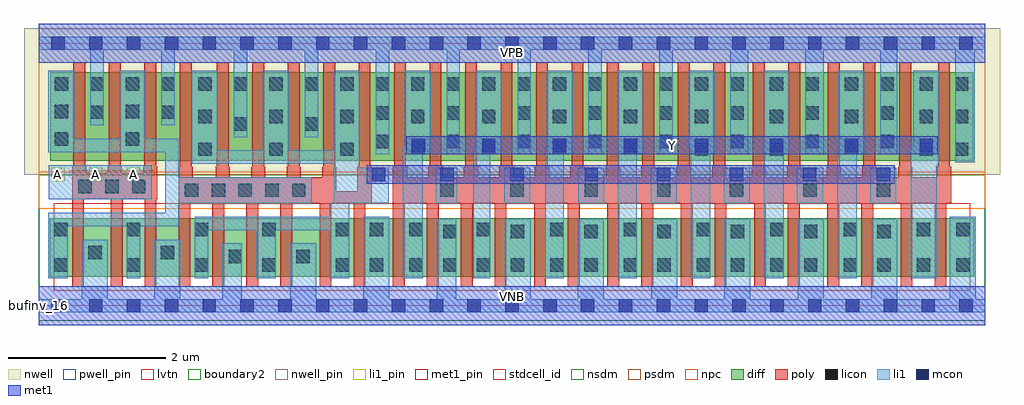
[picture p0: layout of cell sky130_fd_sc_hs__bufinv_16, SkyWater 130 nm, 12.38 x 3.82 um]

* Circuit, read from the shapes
.subckt sky130_fd_sc_hs__bufinv_16 A VGND VNB VPB VPWR Y
XM1 VGND A n1 VNB sky130_fd_pr__nfet_01v8_lvt w=0.74 l=0.15 m=3
XM2 n2 n1 VGND VNB sky130_fd_pr__nfet_01v8_lvt w=0.74 l=0.15 m=6
XM3 Y n2 VGND VNB sky130_fd_pr__nfet_01v8_lvt w=0.74 l=0.15 m=16
XM4 VPWR A n1 VPB sky130_fd_pr__pfet_01v8 w=1.12 l=0.15 m=3
XM5 n2 n1 VPWR VPB sky130_fd_pr__pfet_01v8 w=1.12 l=0.15 m=6
XM6 Y n2 VPWR VPB sky130_fd_pr__pfet_01v8 w=1.12 l=0.15 m=16
.ends

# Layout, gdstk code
import gdstk
lib = gdstk.Library(unit=1e-6, precision=1e-09)
def R(c, l, rs):  # rectangles x0, y0, x1, y1
    for r in rs: c.add(gdstk.rectangle(r[:2], r[2:], *l))
def A(c, l, x, y, w, h, nx, ny, dx, dy):  # array of equal rectangles
    R(c, l, [(x+i*dx, y+j*dy, x+i*dx+w, y+j*dy+h) for i in range(nx) for j in range(ny)])
def P(c, l, *ps):  # polygons
    for p in ps: c.add(gdstk.Polygon(p, *l))
nwell_pin = (64, 16)
nwell = (64, 20)
diff = (65, 20)
poly = (66, 20)
licon = (66, 44)
li1_pin = (67, 16)
li1 = (67, 20)
mcon = (67, 44)
met1_pin = (68, 16)
met1 = (68, 20)
stdcell_id = (81, 4)
nsdm = (93, 44)
psdm = (94, 20)
npc = (95, 20)
pwell_pin = (122, 16)
lvtn = (125, 44)
boundary2 = (236, 0)

sky130_fd_sc_hs__bufinv_ = lib.new_cell('sky130_fd_sc_hs__bufinv_16')
R(sky130_fd_sc_hs__bufinv_, nwell_pin, [(0,3.085,12,3.33)])
R(sky130_fd_sc_hs__bufinv_, nwell, [(-0.19,1.66,12.19,3.52)])
R(sky130_fd_sc_hs__bufinv_, diff, [(0.135,0.37,11.865,1.11), (0.14,1.84,11.85,2.96)])
P(sky130_fd_sc_hs__bufinv_, poly, [(1.5,1.765),(1.485,1.765),(1.485,3.09),(1.335,3.09),(1.335,1.765),(1.32,1.765),(1.32,1.68),(1.05,1.68),(1.05,1.765),(1.035,1.765),(1.035,3.09),(0.885,3.09),(0.885,1.765),(0.87,1.765),(0.87,1.68),(0.6,1.68),(0.6,1.765),(0.585,1.765),(0.585,3.09),(0.435,3.09),(0.435,1.765),(0.42,1.765),(0.42,0.24),(0.57,0.24),(0.57,1.35),(0.91,1.35),(0.91,0.24),(1.06,0.24),(1.06,1.35),(1.34,1.35),(1.34,0.24),(1.49,0.24),(1.49,1.35),(1.5,1.35)],
  [(4.22,1.765),(4.205,1.765),(4.205,3.09),(4.055,3.09),(4.055,1.765),(4.04,1.765),(4.04,1.45),(3.77,1.45),(3.77,1.765),(3.755,1.765),(3.755,3.09),(3.605,3.09),(3.605,1.765),(3.59,1.765),(3.59,1.63),(3.32,1.63),(3.32,1.765),(3.305,1.765),(3.305,3.09),(3.155,3.09),(3.155,1.765),(3.14,1.765),(3.14,1.63),(2.87,1.63),(2.87,1.765),(2.855,1.765),(2.855,3.09),(2.705,3.09),(2.705,1.765),(2.69,1.765),(2.69,1.63),(2.42,1.63),(2.42,1.765),(2.405,1.765),(2.405,3.09),(2.255,3.09),(2.255,1.765),(2.24,1.765),(2.24,1.63),(1.95,1.63),(1.95,1.765),(1.935,1.765),(1.935,3.09),(1.785,3.09),(1.785,1.765),(1.77,1.765),(1.77,0.24),(1.92,0.24),(1.92,1.3),(2.2,1.3),(2.2,0.24),(2.35,0.24),(2.35,1.3),(2.63,1.3),(2.63,0.24),(2.78,0.24),(2.78,1.3),(3.06,1.3),(3.06,0.24),(3.21,0.24),(3.21,1.3),(3.56,1.3),(3.56,0.24),(3.71,0.24),(3.71,1.3),(3.99,1.3),(3.99,0.24),(4.14,0.24),(4.14,1.3),(4.22,1.3)],
  [(11.57,1.765),(11.555,1.765),(11.555,3.09),(11.405,3.09),(11.405,1.765),(11.39,1.765),(11.39,1.63),(11.08,1.63),(11.08,1.765),(11.065,1.765),(11.065,3.09),(10.915,3.09),(10.915,1.765),(10.9,1.765),(10.9,1.63),(10.62,1.63),(10.62,1.765),(10.605,1.765),(10.605,3.09),(10.455,3.09),(10.455,1.765),(10.44,1.765),(10.44,1.63),(10.17,1.63),(10.17,1.765),(10.155,1.765),(10.155,3.09),(10.005,3.09),(10.005,1.765),(9.99,1.765),(9.99,1.63),(9.67,1.63),(9.67,1.765),(9.655,1.765),(9.655,3.09),(9.505,3.09),(9.505,1.765),(9.49,1.765),(9.49,1.63),(9.22,1.63),(9.22,1.765),(9.205,1.765),(9.205,3.09),(9.055,3.09),(9.055,1.765),(9.04,1.765),(9.04,1.63),(8.72,1.63),(8.72,1.765),(8.705,1.765),(8.705,3.09),(8.555,3.09),(8.555,1.765),(8.54,1.765),(8.54,1.63),(8.27,1.63),(8.27,1.765),(8.255,1.765),(8.255,3.09),(8.105,3.09),(8.105,1.765),(8.09,1.765),(8.09,1.63),(7.82,1.63),(7.82,1.765),(7.805,1.765),(7.805,3.09),(7.655,3.09),(7.655,1.765),(7.64,1.765),(7.64,1.63),(7.37,1.63),(7.37,1.765),(7.355,1.765),(7.355,3.09),(7.205,3.09),(7.205,1.765),(7.19,1.765),(7.19,1.63),(6.92,1.63),(6.92,1.765),(6.905,1.765),(6.905,3.09),(6.755,3.09),(6.755,1.765),(6.74,1.765),(6.74,1.63),(6.47,1.63),(6.47,1.765),(6.455,1.765),(6.455,3.09),(6.305,3.09),(6.305,1.765),(6.29,1.765),(6.29,1.63),(6.02,1.63),(6.02,1.765),(6.005,1.765),(6.005,3.09),(5.855,3.09),(5.855,1.765),(5.84,1.765),(5.84,1.63),(5.57,1.63),(5.57,1.765),(5.555,1.765),(5.555,3.09),(5.405,3.09),(5.405,1.765),(5.39,1.765),(5.39,1.63),(5.12,1.63),(5.12,1.765),(5.105,1.765),(5.105,3.09),(4.955,3.09),(4.955,1.765),(4.94,1.765),(4.94,1.63),(4.67,1.63),(4.67,1.765),(4.655,1.765),(4.655,3.09),(4.505,3.09),(4.505,1.765),(4.49,1.765),(4.49,0.24),(4.64,0.24),(4.64,1.3),(4.92,1.3),(4.92,0.24),(5.07,0.24),(5.07,1.3),(5.35,1.3),(5.35,0.24),(5.5,0.24),(5.5,1.3),(5.78,1.3),(5.78,0.24),(5.93,0.24),(5.93,1.3),(6.28,1.3),(6.28,0.24),(6.43,0.24),(6.43,1.3),(6.71,1.3),(6.71,0.24),(6.86,0.24),(6.86,1.3),(7.21,1.3),(7.21,0.24),(7.36,0.24),(7.36,1.3),(7.64,1.3),(7.64,0.24),(7.79,0.24),(7.79,1.3),(8.14,1.3),(8.14,0.24),(8.29,0.24),(8.29,1.3),(8.57,1.3),(8.57,0.24),(8.72,0.24),(8.72,1.3),(9.07,1.3),(9.07,0.24),(9.22,0.24),(9.22,1.3),(9.5,1.3),(9.5,0.24),(9.65,0.24),(9.65,1.3),(10,1.3),(10,0.24),(10.15,0.24),(10.15,1.3),(10.43,1.3),(10.43,0.24),(10.58,0.24),(10.58,1.3),(10.93,1.3),(10.93,0.24),(11.08,0.24),(11.08,1.3),(11.36,1.3),(11.36,0.24),(11.51,0.24),(11.51,1.3),(11.57,1.3)])
A(sky130_fd_sc_hs__bufinv_, licon, 1.115, 0.43, 0.17, 0.17, 3, 2, 0.86, 0.45)
A(sky130_fd_sc_hs__bufinv_, licon, 4.695, 0.43, 0.17, 0.17, 4, 1, 0.43, 0)
A(sky130_fd_sc_hs__bufinv_, licon, 10.635, 0.43, 0.17, 0.17, 3, 1, 0.5, 0)
A(sky130_fd_sc_hs__bufinv_, licon, 5.985, 0.855, 0.17, 0.17, 6, 1, 0.93, 0)
A(sky130_fd_sc_hs__bufinv_, licon, 5.555, 0.88, 0.17, 0.17, 7, 1, 0.93, 0)
A(sky130_fd_sc_hs__bufinv_, licon, 1.85, 1.38, 0.17, 0.17, 5, 1, 0.34, 0)
A(sky130_fd_sc_hs__bufinv_, licon, 8.765, 1.38, 0.17, 0.17, 3, 1, 0.93, 0)
A(sky130_fd_sc_hs__bufinv_, licon, 0.5, 1.43, 0.17, 0.17, 3, 1, 0.34, 0)
A(sky130_fd_sc_hs__bufinv_, licon, 2.02, 1.9, 0.17, 0.17, 3, 1, 0.9, 0)
A(sky130_fd_sc_hs__bufinv_, licon, 11.62, 1.9, 0.17, 0.17, 1, 3, 0, 0.415)
A(sky130_fd_sc_hs__bufinv_, licon, 4.72, 1.92, 0.17, 0.17, 4, 1, 0.9, 0)
A(sky130_fd_sc_hs__bufinv_, licon, 4.27, 2, 0.17, 0.17, 6, 2, 0.9, 0.36)
A(sky130_fd_sc_hs__bufinv_, licon, 2.02, 2.315, 0.17, 0.17, 8, 1, 0.9, 0)
A(sky130_fd_sc_hs__bufinv_, licon, 9.27, 2.315, 0.17, 0.17, 3, 1, 0.95, 0)
A(sky130_fd_sc_hs__bufinv_, licon, 0.2, 2.73, 0.17, 0.17, 4, 1, 0.45, 0)
A(sky130_fd_sc_hs__bufinv_, licon, 2.02, 2.73, 0.17, 0.17, 16, 1, 0.45, 0)
R(sky130_fd_sc_hs__bufinv_, licon, [(0.195,0.43,0.365,0.6), (3.765,0.43,3.935,0.6), (4.195,0.43,4.365,0.6), (6.485,0.43,6.655,0.6), (6.915,0.43,7.085,0.6), (7.415,0.43,7.585,0.6), (7.845,0.43,8.015,0.6), (8.345,0.43,8.515,0.6), (8.775,0.43,8.945,0.6), (9.275,0.43,9.445,0.6), (9.705,0.43,9.875,0.6), (10.205,0.43,10.375,0.6), (2.405,0.54,2.575,0.71), (3.265,0.54,3.435,0.71), (0.625,0.59,0.795,0.76), (1.545,0.59,1.715,0.76), (5.125,0.855,5.295,1.025), (0.195,0.88,0.365,1.05), (3.765,0.88,3.935,1.05), (4.195,0.88,4.365,1.05), (4.695,0.88,4.865,1.05), (11.635,0.88,11.805,1.05), (5.09,1.38,5.26,1.55), (5.98,1.38,6.15,1.55), (6.92,1.38,7.09,1.55), (7.84,1.38,8.01,1.55), (8.32,1.9,8.49,2.07), (9.27,1.9,9.44,2.07), (11.17,1.9,11.34,2.07), (10.22,1.92,10.39,2.09), (9.72,2,9.89,2.17), (10.67,2,10.84,2.17), (0.2,2.03,0.37,2.2), (1.1,2.03,1.27,2.2), (2.47,2.22,2.64,2.39), (3.37,2.22,3.54,2.39), (9.72,2.36,9.89,2.53), (10.67,2.36,10.84,2.53), (0.65,2.37,0.82,2.54), (1.55,2.37,1.72,2.54), (0.2,2.38,0.37,2.55), (1.1,2.38,1.27,2.55), (9.27,2.73,9.44,2.9), (9.72,2.73,9.89,2.9), (10.22,2.73,10.39,2.9), (10.67,2.73,10.84,2.9), (11.17,2.73,11.34,2.9)])
A(sky130_fd_sc_hs__bufinv_, li1_pin, 0.155, 1.58, 0.17, 0.17, 3, 1, 0.48, 0)
A(sky130_fd_sc_hs__bufinv_, li1, 8.685, 1.3, 0.33, 0.45, 3, 1, 0.93, 0)
R(sky130_fd_sc_hs__bufinv_, li1, [(5.035,1.3,5.305,1.75), (5.9,1.3,6.23,1.75), (6.84,1.3,7.17,1.75), (7.76,1.3,8.09,1.75), (0.125,1.35,1.43,1.78)])
P(sky130_fd_sc_hs__bufinv_, li1, [(4.97,2.98),(4.64,2.98),(4.64,2.02),(4.615,2.02),(4.615,0.35),(4.865,0.35),(4.865,1.92),(4.97,1.92)],
  [(5.87,2.98),(5.54,2.98),(5.54,2.02),(5.51,2.02),(5.51,0.35),(5.725,0.35),(5.725,1.92),(5.87,1.92)],
  [(6.77,2.98),(6.44,2.98),(6.44,2.02),(6.42,2.02),(6.42,0.35),(6.655,0.35),(6.655,1.92),(6.77,1.92)],
  [(7.67,2.98),(7.34,2.98),(7.34,0.35),(7.585,0.35),(7.585,1.92),(7.67,1.92)],
  [(8.57,2.98),(8.24,2.98),(8.24,2.02),(8.265,2.02),(8.265,0.35),(8.515,0.35),(8.515,1.92),(8.57,1.92)],
  [(9.52,2.98),(9.19,2.98),(9.19,2.02),(9.195,2.02),(9.195,0.35),(9.445,0.35),(9.445,1.92),(9.52,1.92)],
  [(10.47,2.98),(10.14,2.98),(10.14,2.02),(10.125,2.02),(10.125,0.35),(10.375,0.35),(10.375,1.92),(10.47,1.92)],
  [(12,0.085),(11.885,0.085),(11.885,1.13),(11.555,1.13),(11.555,0.085),(10.885,0.085),(10.885,1.105),(10.555,1.105),(10.555,0.085),(9.955,0.085),(9.955,1.105),(9.625,1.105),(9.625,0.085),(9.025,0.085),(9.025,1.105),(8.695,1.105),(8.695,0.085),(8.095,0.085),(8.095,1.105),(7.765,1.105),(7.765,0.085),(7.165,0.085),(7.165,1.105),(6.835,1.105),(6.835,0.085),(6.235,0.085),(6.235,1.105),(5.905,1.105),(5.905,0.085),(5.295,0.085),(5.295,1.105),(5.045,1.105),(5.045,0.085),(4.445,0.085),(4.445,1.13),(4.115,1.13),(4.115,0.085),(3.515,0.085),(3.515,0.79),(3.185,0.79),(3.185,0.085),(2.575,0.085),(2.575,0.79),(2.325,0.79),(2.325,0.085),(1.795,0.085),(1.795,0.84),(1.465,0.84),(1.465,0.085),(0.875,0.085),(0.875,0.84),(0.545,0.84),(0.545,0.085),(0,0.085),(0,-0.085),(12,-0.085)],
  [(11.42,2.98),(11.09,2.98),(11.09,2.02),(11.055,2.02),(11.055,0.35),(11.385,0.35),(11.385,1.79),(11.42,1.79)],
  [(12,3.415),(0,3.415),(0,3.245),(0.65,3.245),(0.65,2.29),(0.82,2.29),(0.82,3.245),(1.55,3.245),(1.55,2.29),(1.72,2.29),(1.72,3.245),(2.47,3.245),(2.47,2.14),(2.64,2.14),(2.64,3.245),(3.37,3.245),(3.37,2.14),(3.54,2.14),(3.54,3.245),(4.27,3.245),(4.27,1.92),(4.44,1.92),(4.44,3.245),(5.17,3.245),(5.17,1.92),(5.34,1.92),(5.34,3.245),(6.07,3.245),(6.07,1.92),(6.24,1.92),(6.24,3.245),(6.97,3.245),(6.97,1.92),(7.14,1.92),(7.14,3.245),(7.87,3.245),(7.87,1.92),(8.04,1.92),(8.04,3.245),(8.77,3.245),(8.77,1.92),(8.995,1.92),(8.995,3.245),(9.72,3.245),(9.72,1.92),(9.955,1.92),(9.955,3.245),(10.67,3.245),(10.67,1.92),(10.885,1.92),(10.885,3.245),(11.62,3.245),(11.62,1.82),(11.87,1.82),(11.87,3.245),(12,3.245)],
  [(4.435,1.75),(4.07,1.75),(4.07,2.98),(3.74,2.98),(3.74,1.97),(3.17,1.97),(3.17,2.98),(2.84,2.98),(2.84,1.97),(2.27,1.97),(2.27,2.98),(1.94,2.98),(1.94,1.8),(3.74,1.8),(3.74,1.3),(3.685,1.3),(3.685,1.13),(1.975,1.13),(1.975,0.35),(2.145,0.35),(2.145,0.96),(2.755,0.96),(2.755,0.35),(3.005,0.35),(3.005,0.96),(3.685,0.96),(3.685,0.35),(3.935,0.35),(3.935,1.3),(4.435,1.3)],
  [(3.46,1.63),(1.77,1.63),(1.77,2.12),(1.35,2.12),(1.35,2.98),(1.02,2.98),(1.02,2.12),(0.45,2.12),(0.45,2.98),(0.12,2.98),(0.12,1.95),(1.6,1.95),(1.6,1.18),(0.115,1.18),(0.115,0.35),(0.365,0.35),(0.365,1.01),(1.115,1.01),(1.115,0.35),(1.285,0.35),(1.285,1.01),(1.77,1.01),(1.77,1.3),(3.46,1.3)])
A(sky130_fd_sc_hs__bufinv_, mcon, 0.155, -0.085, 0.17, 0.17, 25, 2, 0.48, 3.33)
A(sky130_fd_sc_hs__bufinv_, mcon, 5.62, 1.95, 0.17, 0.17, 4, 1, 0.9, 0)
A(sky130_fd_sc_hs__bufinv_, mcon, 9.27, 1.95, 0.17, 0.17, 3, 1, 0.95, 0)
R(sky130_fd_sc_hs__bufinv_, mcon, [(4.225,1.58,4.395,1.75), (5.09,1.58,5.26,1.75), (5.98,1.58,6.15,1.75), (6.92,1.58,7.09,1.75), (7.835,1.58,8.005,1.75), (8.765,1.58,8.935,1.75), (9.69,1.58,9.86,1.75), (10.625,1.58,10.795,1.75), (4.73,1.95,4.9,2.12)])
R(sky130_fd_sc_hs__bufinv_, met1_pin, [(0,0,12,0.245), (4.66,1.92,11.4,2.15), (0,3.085,12,3.33)])
R(sky130_fd_sc_hs__bufinv_, met1, [(0,-0.245,12,0.245), (4.155,1.55,10.855,1.78), (4.66,1.92,11.4,2.15), (0,3.085,12,3.575)])
R(sky130_fd_sc_hs__bufinv_, stdcell_id, [(0,0,12,3.33)])
R(sky130_fd_sc_hs__bufinv_, nsdm, [(0,-0.19,12,1.66)])
P(sky130_fd_sc_hs__bufinv_, psdm, [(12,3.52),(0,3.52),(0,1.66),(0.39,1.66),(0.39,1.71),(1.46,1.71),(1.46,1.66),(12,1.66)])
R(sky130_fd_sc_hs__bufinv_, npc, [(0,1.23,12,1.7)])
R(sky130_fd_sc_hs__bufinv_, pwell_pin, [(0,0,12,0.245)])
R(sky130_fd_sc_hs__bufinv_, lvtn, [(0.19,0.19,11.81,1.3)])
R(sky130_fd_sc_hs__bufinv_, boundary2, [(0,0,12,3.33)])
sky130_fd_sc_hs__bufinv_.add(gdstk.Label('bufinv_16', (0,0), layer=83, texttype=44))
sky130_fd_sc_hs__bufinv_.add(gdstk.Label('VNB', (6,0.123), layer=64, texttype=59))
sky130_fd_sc_hs__bufinv_.add(gdstk.Label('VPB', (6,3.208), layer=64, texttype=5))
sky130_fd_sc_hs__bufinv_.add(gdstk.Label('Y', (8.03,2.035), layer=68, texttype=5))
sky130_fd_sc_hs__bufinv_.add(gdstk.Label('VPWR', (6,3.208), layer=68, texttype=5))
sky130_fd_sc_hs__bufinv_.add(gdstk.Label('VGND', (6,0.123), layer=68, texttype=5))
sky130_fd_sc_hs__bufinv_.add(gdstk.Label('A', (0.24,1.665), layer=67, texttype=5))
sky130_fd_sc_hs__bufinv_.add(gdstk.Label('A', (0.72,1.665), layer=67, texttype=5))
sky130_fd_sc_hs__bufinv_.add(gdstk.Label('A', (1.2,1.665), layer=67, texttype=5))

lib.write_gds('sky130_fd_sc_hs__bufinv_16.gds')
